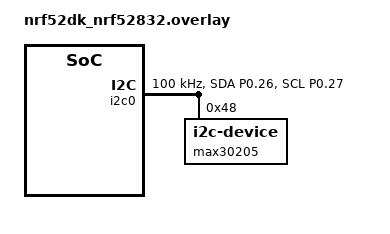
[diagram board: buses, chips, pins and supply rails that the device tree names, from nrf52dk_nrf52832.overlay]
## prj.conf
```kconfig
CONFIG_I2C=y
CONFIG_PRINTK=y
CONFIG_STDOUT_CONSOLE=y
CONFIG_PRINTK_SYNC=y
CONFIG_CBPRINTF_FP_SUPPORT=y
```

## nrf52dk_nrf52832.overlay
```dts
&pinctrl {
    i2c0_default: i2c0_default {
        group1 {
            psels = <NRF_PSEL(TWIM_SDA, 0, 26)>,
                    <NRF_PSEL(TWIM_SCL, 0, 27)>;
            bias-pull-up;    /* Enable internal pull-ups */
        };
    };

    i2c0_sleep: i2c0_sleep {
        group1 {
            psels = <NRF_PSEL(TWIM_SDA, 0, 26)>,
                    <NRF_PSEL(TWIM_SCL, 0, 27)>;
            low-power-enable;
        };
    };
};

&i2c0 {
    compatible = "nordic,nrf-twi";
    status = "okay";
    pinctrl-0 = <&i2c0_default>;
    pinctrl-1 = <&i2c0_sleep>;
    pinctrl-names = "default", "sleep";
    clock-frequency = <100000>;

    max30205: max30205@48 {
        compatible = "i2c-device";
        reg = <0x48>;
    };
};
```

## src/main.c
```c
#include <zephyr/kernel.h>
#include <zephyr/drivers/i2c.h>

#define MAX30205_NODE DT_NODELABEL(max30205)
#define MAX30205_TEMP_REG 0x00
#define MAX30205_CONFIG_REG 0x01

void main(void)
{
    static const struct i2c_dt_spec dev_i2c = I2C_DT_SPEC_GET(MAX30205_NODE);
    int ret;
    
    printk("=== MAX30205 Temperature Sensor Test ===\n");
    
    if (!device_is_ready(dev_i2c.bus)) {
        printk("I2C bus is not ready!\n");
        return;
    }

    while (1) {
        // Read temperature data (2 bytes)
        uint8_t temp_reg = MAX30205_TEMP_REG;
        uint8_t temp_data[2];
        ret = i2c_write_read_dt(&dev_i2c, &temp_reg, 1, temp_data, 2);
        
        if (ret == 0) {
            // Convert to temperature
            // MAX30205 sends temperature in two's complement format
            int16_t temp_raw = (temp_data[0] << 8) | temp_data[1];
            float temp_c = temp_raw * 0.00390625f; // 2^-8 = 0.00390625
            
            printk("Raw temperature: 0x%04X\n", (uint16_t)temp_raw);
            printk("Temperature: %.3f C\n", temp_c);
        } else {
            printk("Failed to read temperature\n");
        }

        // Wait for 2 seconds before next reading
        k_sleep(K_SECONDS(2));
    }
}
```
